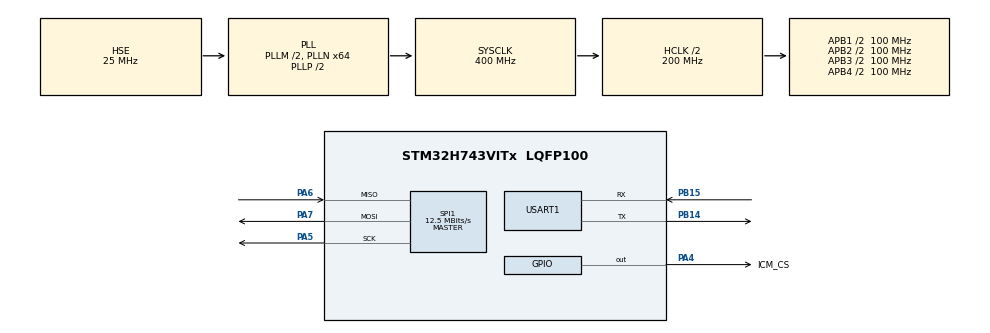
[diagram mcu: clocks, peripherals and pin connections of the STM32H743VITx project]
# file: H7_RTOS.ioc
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CORTEX_M7.default_mode_Activation=1
FREERTOS.Tasks01=defaultTask,24,128,StartDefaultTask,Default,NULL,Dynamic,NULL,NULL
FREERTOS.configENABLE_BACKWARD_COMPATIBILITY=0
FREERTOS.configENABLE_FPU=1
FREERTOS.configGENERATE_RUN_TIME_STATS=1
FREERTOS.configQUEUE_REGISTRY_SIZE=20
FREERTOS.configRECORD_STACK_HIGH_ADDRESS=1
FREERTOS.configTIMER_TASK_PRIORITY=55
FREERTOS.configTIMER_TASK_STACK_DEPTH=1024
FREERTOS.configTOTAL_HEAP_SIZE=40960
FREERTOS.configUSE_STATS_FORMATTING_FUNCTIONS=1
Mcu.Family=STM32H7
Mcu.Name=STM32H743VITx
Mcu.Package=LQFP100
NVIC.PriorityGroup=NVIC_PRIORITYGROUP_4
NVIC.TIM1_UP_IRQn=true\:15\:0\:false\:false\:true\:false\:false\:true\:true
NVIC.TIM2_IRQn=true\:5\:0\:false\:false\:true\:true\:true\:true\:true
NVIC.TimeBase=TIM1_UP_IRQn
NVIC.TimeBaseIP=TIM1
NVIC.USART1_IRQn=true\:5\:0\:false\:false\:true\:true\:true\:true\:true
PA13\ (JTMS/SWDIO).Mode=Serial_Wire
PA13\ (JTMS/SWDIO).Signal=DEBUG_JTMS-SWDIO
PA14\ (JTCK/SWCLK).Mode=Serial_Wire
PA14\ (JTCK/SWCLK).Signal=DEBUG_JTCK-SWCLK
PA4.GPIO_Label=ICM_CS
PA4.GPIO_ModeDefaultOutputPP=GPIO_MODE_OUTPUT_PP
PA4.GPIO_Speed=GPIO_SPEED_FREQ_HIGH
PA4.PinState=GPIO_PIN_SET
PA4.Signal=GPIO_Output
PA5.Mode=Full_Duplex_Master
PA5.Signal=SPI1_SCK
PA6.Mode=Full_Duplex_Master
PA6.Signal=SPI1_MISO
PA7.Mode=Full_Duplex_Master
PA7.Signal=SPI1_MOSI
PB14.Mode=Asynchronous
PB14.Signal=USART1_TX
PB15.Mode=Asynchronous
PB15.Signal=USART1_RX
PC14-OSC32_IN\ (OSC32_IN).Mode=LSE-External-Oscillator
PC14-OSC32_IN\ (OSC32_IN).Signal=RCC_OSC32_IN
PC15-OSC32_OUT\ (OSC32_OUT).Mode=LSE-External-Oscillator
PC15-OSC32_OUT\ (OSC32_OUT).Signal=RCC_OSC32_OUT
PH0-OSC_IN\ (PH0).Mode=HSE-External-Oscillator
PH0-OSC_IN\ (PH0).Signal=RCC_OSC_IN
PH1-OSC_OUT\ (PH1).Mode=HSE-External-Oscillator
PH1-OSC_OUT\ (PH1).Signal=RCC_OSC_OUT
ProjectManager.HeapSize=0x200
ProjectManager.StackSize=0x400
ProjectManager.TargetToolchain=MDK-ARM V5.32
RCC.ADCFreq_Value=50390625
RCC.APB1Freq_Value=100000000
RCC.APB2Freq_Value=100000000
RCC.APB3Freq_Value=100000000
RCC.APB4Freq_Value=100000000
RCC.CortexFreq_Value=400000000
RCC.D1PPRE=RCC_APB3_DIV2
RCC.D2PPRE1=RCC_APB1_DIV2
RCC.D2PPRE2=RCC_APB2_DIV2
RCC.D3PPRE=RCC_APB4_DIV2
RCC.DIVM1=2
RCC.DIVN1=64
RCC.DIVQ1=4
RCC.HCLKFreq_Value=200000000
RCC.HPRE=RCC_HCLK_DIV2
RCC.PLLFRACN=0
RCC.PLLSourceVirtual=RCC_PLLSOURCE_HSE
RCC.SYSCLKFreq_VALUE=400000000
RCC.SYSCLKSource=RCC_SYSCLKSOURCE_PLLCLK
RCC.USBFreq_Value=200000000
SPI1.BaudRatePrescaler=SPI_BAUDRATEPRESCALER_16
SPI1.CLKPhase=SPI_PHASE_2EDGE
SPI1.CLKPolarity=SPI_POLARITY_HIGH
SPI1.CalculateBaudRate=12.5 MBits/s
SPI1.DataSize=SPI_DATASIZE_8BIT
SPI1.Direction=SPI_DIRECTION_2LINES
SPI1.Mode=SPI_MODE_MASTER
SPI1.VirtualType=VM_MASTER
TIM2.AutoReloadPreload=TIM_AUTORELOAD_PRELOAD_ENABLE
TIM2.Period=999
TIM2.Prescaler=199
USART1.FIFOMode=FIFOMODE_DISABLE
USART1.VirtualMode-Asynchronous=VM_ASYNC
VP_FREERTOS_VS_CMSIS_V2.Mode=CMSIS_V2
VP_MEMORYMAP_VS_MEMORYMAP.Mode=CurAppReg
VP_SYS_VS_tim1.Mode=TIM1
VP_TIM2_VS_ClockSourceINT.Mode=Internal
board=custom

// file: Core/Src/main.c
/* USER CODE BEGIN Header */
/**
  ******************************************************************************
  * @file           : main.c
  * @brief          : Main program body
  ******************************************************************************
  * @attention
  *
  * Copyright (c) 2026 STMicroelectronics.
  * All rights reserved.
  *
  * This software is licensed under terms that can be found in the LICENSE file
  * in the root directory of this software component.
  * If no LICENSE file comes with this software, it is provided AS-IS.
  *
  ******************************************************************************
  */
/* USER CODE END Header */
#include "main.h"
#include "cmsis_os.h"
#include "memorymap.h"
#include "spi.h"
#include "tim.h"
#include "usart.h"
#include "gpio.h"

/* USER CODE BEGIN PV */

// Make Task Priority
const osThreadAttr_t uart_attr = {
        .name = "UartTx",
        .priority = osPriorityNormal,
        .stack_size = 512 * 4};

/* USER CODE END PV */

void SystemClock_Config(void);
static void MPU_Config(void);
void MX_FREERTOS_Init(void);
/* USER CODE BEGIN PFP */

void Task_UartTx(void *argument);

/* USER CODE END PFP */

int main(void)
{

  /* MPU Configuration--------------------------------------------------------*/
  MPU_Config();

  /* MCU Configuration--------------------------------------------------------*/

  /* Reset of all peripherals, Initializes the Flash interface and the Systick. */
  HAL_Init();

  /* Configure the system clock */
  SystemClock_Config();

  /* Initialize all configured peripherals */
  MX_GPIO_Init();
  MX_TIM2_Init();
  MX_SPI1_Init();
  MX_USART1_UART_Init();
  /* USER CODE BEGIN 2 */
  // Set TIM2 interrupt priority < 5 to prevent FreeRTOS from interrupting SPI
  HAL_NVIC_SetPriority(TIM2_IRQn, 4, 0);

  test = ICM42688_Init();
  if(test != 0)
	  while(1);
  IMU_Data_Init(&IMU);
  Gyro_Bias_Calibrate();

  /* USER CODE END 2 */

  /* Init scheduler */
  osKernelInitialize();

  /* Call init function for freertos objects (in cmsis_os2.c) */
  MX_FREERTOS_Init();

  /* USER CODE BEGIN RTOS_INIT */

  // Create Tasks
  osThreadNew(Task_UartTx, NULL, &uart_attr);

  // Start TIM2 interrupt for IMU data update
  HAL_TIM_Base_Start_IT(&htim2);

  /* USER CODE END RTOS_INIT */

  /* Start scheduler */
  osKernelStart();

  /* We should never get here as control is now taken by the scheduler */

  /* Infinite loop */
  while (1)
  {

  }
}

void SystemClock_Config(void)
{
  RCC_OscInitTypeDef RCC_OscInitStruct = {0};
  RCC_ClkInitTypeDef RCC_ClkInitStruct = {0};

  /** Supply configuration update enable
  */
  HAL_PWREx_ConfigSupply(PWR_LDO_SUPPLY);

  /** Configure the main internal regulator output voltage
  */
  __HAL_PWR_VOLTAGESCALING_CONFIG(PWR_REGULATOR_VOLTAGE_SCALE1);

  while(!__HAL_PWR_GET_FLAG(PWR_FLAG_VOSRDY)) {}

  /** Initializes the RCC Oscillators according to the specified parameters
  * in the RCC_OscInitTypeDef structure.
  */
  RCC_OscInitStruct.OscillatorType = RCC_OSCILLATORTYPE_HSE;
  RCC_OscInitStruct.HSEState = RCC_HSE_ON;
  RCC_OscInitStruct.PLL.PLLState = RCC_PLL_ON;
  RCC_OscInitStruct.PLL.PLLSource = RCC_PLLSOURCE_HSE;
  RCC_OscInitStruct.PLL.PLLM = 2;
  RCC_OscInitStruct.PLL.PLLN = 64;
  RCC_OscInitStruct.PLL.PLLP = 2;
  RCC_OscInitStruct.PLL.PLLQ = 4;
  RCC_OscInitStruct.PLL.PLLR = 2;
  RCC_OscInitStruct.PLL.PLLRGE = RCC_PLL1VCIRANGE_3;
  RCC_OscInitStruct.PLL.PLLVCOSEL = RCC_PLL1VCOWIDE;
  RCC_OscInitStruct.PLL.PLLFRACN = 0;
  if (HAL_RCC_OscConfig(&RCC_OscInitStruct) != HAL_OK)
  {
    Error_Handler();
  }

  /** Initializes the CPU, AHB and APB buses clocks
  */
  RCC_ClkInitStruct.ClockType = RCC_CLOCKTYPE_HCLK|RCC_CLOCKTYPE_SYSCLK
                              |RCC_CLOCKTYPE_PCLK1|RCC_CLOCKTYPE_PCLK2
                              |RCC_CLOCKTYPE_D3PCLK1|RCC_CLOCKTYPE_D1PCLK1;
  RCC_ClkInitStruct.SYSCLKSource = RCC_SYSCLKSOURCE_PLLCLK;
  RCC_ClkInitStruct.SYSCLKDivider = RCC_SYSCLK_DIV1;
  RCC_ClkInitStruct.AHBCLKDivider = RCC_HCLK_DIV2;
  RCC_ClkInitStruct.APB3CLKDivider = RCC_APB3_DIV2;
  RCC_ClkInitStruct.APB1CLKDivider = RCC_APB1_DIV2;
  RCC_ClkInitStruct.APB2CLKDivider = RCC_APB2_DIV2;
  RCC_ClkInitStruct.APB4CLKDivider = RCC_APB4_DIV2;

  if (HAL_RCC_ClockConfig(&RCC_ClkInitStruct, FLASH_LATENCY_2) != HAL_OK)
  {
    Error_Handler();
  }
}

/* USER CODE BEGIN 4 */

// ===== UART1_TX_Task =====
void Task_UartTx(void *argument)
{
  char buf[64];
  int len;
  while(1)
  {
	  len = sprintf(buf, "%.2f,%.2f,%.2f\n", -IMU.Roll, IMU.Yaw, -IMU.Pitch);
	  HAL_UART_Transmit(&huart1, (uint8_t*)buf, len, 100);
	  osDelay(20);  // 50Hz, adjust as needed
  }
}

/* USER CODE END 4 */

 /* MPU Configuration */

void MPU_Config(void)
{
  MPU_Region_InitTypeDef MPU_InitStruct = {0};

  /* Disables the MPU */
  HAL_MPU_Disable();

  /** Initializes and configures the Region and the memory to be protected
  */
  MPU_InitStruct.Enable = MPU_REGION_ENABLE;
  MPU_InitStruct.Number = MPU_REGION_NUMBER0;
  MPU_InitStruct.BaseAddress = 0x0;
  MPU_InitStruct.Size = MPU_REGION_SIZE_4GB;
  MPU_InitStruct.SubRegionDisable = 0x87;
  MPU_InitStruct.TypeExtField = MPU_TEX_LEVEL0;
  MPU_InitStruct.AccessPermission = MPU_REGION_NO_ACCESS;
  MPU_InitStruct.DisableExec = MPU_INSTRUCTION_ACCESS_DISABLE;
  MPU_InitStruct.IsShareable = MPU_ACCESS_SHAREABLE;
  MPU_InitStruct.IsCacheable = MPU_ACCESS_NOT_CACHEABLE;
  MPU_InitStruct.IsBufferable = MPU_ACCESS_NOT_BUFFERABLE;

  HAL_MPU_ConfigRegion(&MPU_InitStruct);
  /* Enables the MPU */
  HAL_MPU_Enable(MPU_PRIVILEGED_DEFAULT);

}

void HAL_TIM_PeriodElapsedCallback(TIM_HandleTypeDef *htim)
{
  if (htim->Instance == TIM1) {
    HAL_IncTick();
  }
  /* USER CODE BEGIN Callback 1 */
  if(htim->Instance == TIM2)
  {
	  USE_TIM_Get_Data();
  }
  /* USER CODE END Callback 1 */
}

void Error_Handler(void)
{
  __disable_irq();
  while (1)
  {
  }
}
